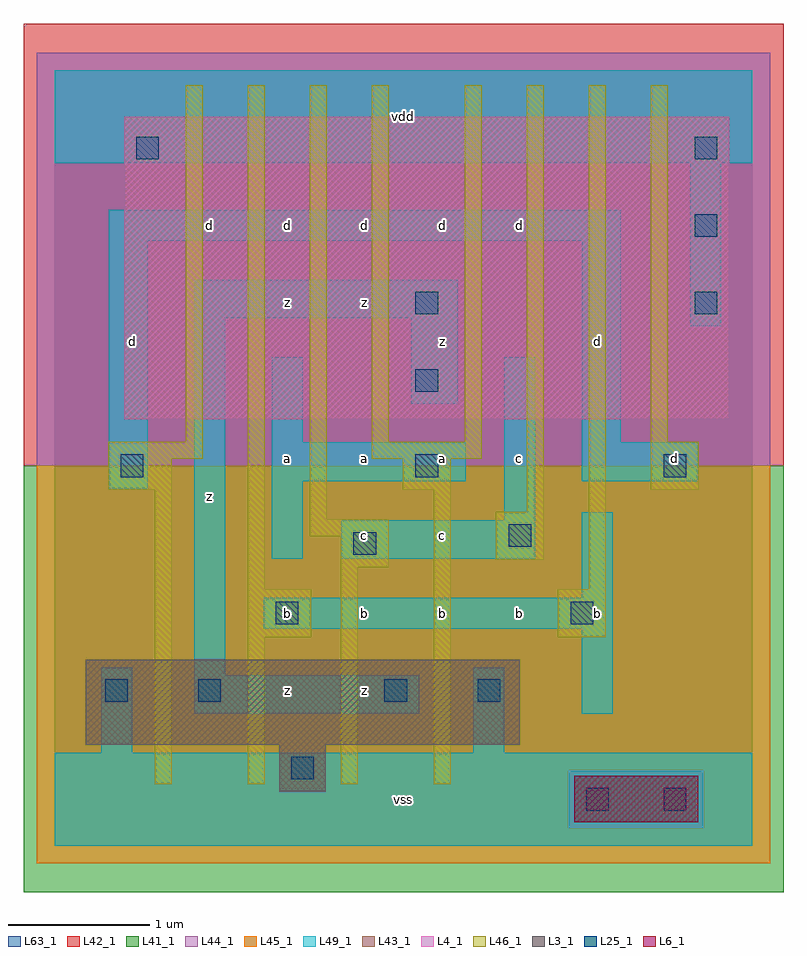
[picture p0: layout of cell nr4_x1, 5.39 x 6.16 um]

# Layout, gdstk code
import gdstk
lib = gdstk.Library(unit=1e-6, precision=1e-09)
def R(c, l, rs):  # rectangles x0, y0, x1, y1
    for r in rs: c.add(gdstk.rectangle(r[:2], r[2:], *l))
def A(c, l, x, y, w, h, nx, ny, dx, dy):  # array of equal rectangles
    R(c, l, [(x+i*dx, y+j*dy, x+i*dx+w, y+j*dy+h) for i in range(nx) for j in range(ny)])
L3_1 = (3, 1)
L4_1 = (4, 1)
L6_1 = (6, 1)
L25_1 = (25, 1)
L41_1 = (41, 1)
L42_1 = (42, 1)
L43_1 = (43, 1)
L44_1 = (44, 1)
L45_1 = (45, 1)
L46_1 = (46, 1)
L49_1 = (49, 1)
L63_1 = (63, 1)

nr4_x1 = lib.new_cell('nr4_x1')
R(nr4_x1, L3_1, [(1.595,0.385,1.925,0.715), (0.22,0.715,3.3,1.32)])
R(nr4_x1, L4_1, [(0.495,3.025,4.785,5.17)])
R(nr4_x1, L6_1, [(3.685,0.165,4.565,0.495)])
A(nr4_x1, L25_1, 4.54, 3.77, 0.16, 0.16, 1, 3, 0, 0.55)
R(nr4_x1, L25_1, [(3.77,0.25,3.93,0.41), (4.32,0.25,4.48,0.41), (1.68,0.47,1.84,0.63), (0.36,1.02,0.52,1.18), (1.02,1.02,1.18,1.18), (2.34,1.02,2.5,1.18), (3,1.02,3.16,1.18), (1.57,1.57,1.73,1.73), (3.66,1.57,3.82,1.73), (2.12,2.065,2.28,2.225), (3.22,2.12,3.38,2.28), (0.47,2.615,0.63,2.775), (2.56,2.615,2.72,2.775), (4.32,2.615,4.48,2.775), (2.56,3.22,2.72,3.38), (2.56,3.77,2.72,3.93), (0.58,4.87,0.74,5.03)])
R(nr4_x1, L41_1, [(-0.22,-0.33,5.17,2.695)])
R(nr4_x1, L42_1, [(-0.22,2.695,5.17,5.83)])
R(nr4_x1, L43_1, [(3.685,0.165,4.565,0.495), (1.595,0.385,1.925,0.715), (0.22,0.715,3.3,1.32), (0.495,3.025,4.785,5.17)])
R(nr4_x1, L44_1, [(3.645,0.125,4.605,0.535), (-0.125,2.695,5.075,5.625)])
R(nr4_x1, L45_1, [(-0.125,-0.125,5.075,0.125), (-0.125,0.125,3.645,0.535), (4.605,0.125,5.075,0.535), (-0.125,0.535,5.075,2.695)])
R(nr4_x1, L46_1, [(0.71,0.435,0.83,2.525), (1.37,0.435,1.49,1.48), (2.03,0.435,2.15,1.975), (2.69,0.435,2.81,2.525), (1.37,1.48,1.82,1.82), (3.57,1.48,3.91,1.82), (1.37,1.82,1.49,5.395), (3.79,1.82,3.91,5.395), (2.03,1.975,2.37,2.195), (3.13,2.03,3.47,2.37), (1.81,2.195,2.37,2.315), (1.81,2.315,1.93,5.395), (3.35,2.37,3.47,5.395), (0.38,2.525,0.83,2.745), (2.47,2.525,2.81,2.745), (4.23,2.525,4.57,2.865), (0.38,2.745,1.05,2.865), (2.25,2.745,3.03,2.865), (0.93,2.865,1.05,5.395), (2.25,2.865,2.37,5.395), (2.91,2.865,3.03,5.395), (4.23,2.865,4.35,5.395)])
R(nr4_x1, L49_1, [(0,0,4.95,0.66), (0.33,0.66,0.55,1.265), (2.97,0.66,3.19,1.265), (0.99,0.935,2.585,1.21), (3.74,0.935,3.96,1.54), (0.99,1.21,1.21,3.74), (1.485,1.54,3.96,1.76), (3.74,1.76,3.96,2.365), (1.54,2.035,1.76,2.585), (2.035,2.035,3.41,2.31), (3.19,2.31,3.41,3.465), (0.385,2.53,0.66,4.29), (1.54,2.585,2.915,2.86), (3.74,2.585,4.565,2.86), (1.54,2.86,1.76,3.465), (3.74,2.86,4.015,4.29), (2.53,3.135,2.86,3.74), (4.51,3.685,4.73,4.84), (0.99,3.74,2.86,4.015), (0.385,4.29,4.015,4.51), (0,4.84,4.95,5.5)])
R(nr4_x1, L63_1, [(0,0,4.95,5.5)])
nr4_x1.add(gdstk.Label('d', (0.55,3.575), layer=49, texttype=1))
nr4_x1.add(gdstk.Label('d', (0.55,3.575), layer=49, texttype=1))
nr4_x1.add(gdstk.Label('z', (1.65,1.1), layer=49, texttype=1))
nr4_x1.add(gdstk.Label('z', (1.65,1.1), layer=49, texttype=1))
nr4_x1.add(gdstk.Label('b', (1.65,1.65), layer=49, texttype=1))
nr4_x1.add(gdstk.Label('b', (1.65,1.65), layer=49, texttype=1))
nr4_x1.add(gdstk.Label('z', (1.1,2.475), layer=49, texttype=1))
nr4_x1.add(gdstk.Label('z', (1.1,2.475), layer=49, texttype=1))
nr4_x1.add(gdstk.Label('a', (1.65,2.75), layer=49, texttype=1))
nr4_x1.add(gdstk.Label('a', (1.65,2.75), layer=49, texttype=1))
nr4_x1.add(gdstk.Label('z', (1.65,3.85), layer=49, texttype=1))
nr4_x1.add(gdstk.Label('z', (1.65,3.85), layer=49, texttype=1))
nr4_x1.add(gdstk.Label('d', (1.65,4.4), layer=49, texttype=1))
nr4_x1.add(gdstk.Label('d', (1.65,4.4), layer=49, texttype=1))
nr4_x1.add(gdstk.Label('d', (1.1,4.4), layer=49, texttype=1))
nr4_x1.add(gdstk.Label('d', (1.1,4.4), layer=49, texttype=1))
nr4_x1.add(gdstk.Label('vss', (2.475,0.33), layer=49, texttype=1))
nr4_x1.add(gdstk.Label('vss', (2.475,0.33), layer=49, texttype=1))
nr4_x1.add(gdstk.Label('z', (2.2,1.1), layer=49, texttype=1))
nr4_x1.add(gdstk.Label('z', (2.2,1.1), layer=49, texttype=1))
nr4_x1.add(gdstk.Label('b', (2.75,1.65), layer=49, texttype=1))
nr4_x1.add(gdstk.Label('b', (2.2,1.65), layer=49, texttype=1))
nr4_x1.add(gdstk.Label('b', (2.2,1.65), layer=49, texttype=1))
nr4_x1.add(gdstk.Label('b', (2.75,1.65), layer=49, texttype=1))
nr4_x1.add(gdstk.Label('c', (2.75,2.2), layer=49, texttype=1))
nr4_x1.add(gdstk.Label('c', (2.2,2.2), layer=49, texttype=1))
nr4_x1.add(gdstk.Label('c', (2.2,2.2), layer=49, texttype=1))
nr4_x1.add(gdstk.Label('c', (2.75,2.2), layer=49, texttype=1))
nr4_x1.add(gdstk.Label('a', (2.75,2.75), layer=49, texttype=1))
nr4_x1.add(gdstk.Label('a', (2.2,2.75), layer=49, texttype=1))
nr4_x1.add(gdstk.Label('a', (2.75,2.75), layer=49, texttype=1))
nr4_x1.add(gdstk.Label('a', (2.2,2.75), layer=49, texttype=1))
nr4_x1.add(gdstk.Label('z', (2.75,3.575), layer=49, texttype=1))
nr4_x1.add(gdstk.Label('z', (2.2,3.85), layer=49, texttype=1))
nr4_x1.add(gdstk.Label('z', (2.2,3.85), layer=49, texttype=1))
nr4_x1.add(gdstk.Label('z', (2.75,3.575), layer=49, texttype=1))
nr4_x1.add(gdstk.Label('d', (2.75,4.4), layer=49, texttype=1))
nr4_x1.add(gdstk.Label('d', (2.2,4.4), layer=49, texttype=1))
nr4_x1.add(gdstk.Label('d', (2.2,4.4), layer=49, texttype=1))
nr4_x1.add(gdstk.Label('d', (2.75,4.4), layer=49, texttype=1))
nr4_x1.add(gdstk.Label('vdd', (2.475,5.17), layer=49, texttype=1))
nr4_x1.add(gdstk.Label('vdd', (2.475,5.17), layer=49, texttype=1))
nr4_x1.add(gdstk.Label('b', (3.85,1.65), layer=49, texttype=1))
nr4_x1.add(gdstk.Label('b', (3.3,1.65), layer=49, texttype=1))
nr4_x1.add(gdstk.Label('b', (3.85,1.65), layer=49, texttype=1))
nr4_x1.add(gdstk.Label('b', (3.3,1.65), layer=49, texttype=1))
nr4_x1.add(gdstk.Label('c', (3.3,2.75), layer=49, texttype=1))
nr4_x1.add(gdstk.Label('c', (3.3,2.75), layer=49, texttype=1))
nr4_x1.add(gdstk.Label('d', (3.85,3.575), layer=49, texttype=1))
nr4_x1.add(gdstk.Label('d', (3.85,3.575), layer=49, texttype=1))
nr4_x1.add(gdstk.Label('d', (3.3,4.4), layer=49, texttype=1))
nr4_x1.add(gdstk.Label('d', (3.3,4.4), layer=49, texttype=1))
nr4_x1.add(gdstk.Label('d', (4.4,2.75), layer=49, texttype=1))
nr4_x1.add(gdstk.Label('d', (4.4,2.75), layer=49, texttype=1))

lib.write_gds('nr4_x1.gds')
